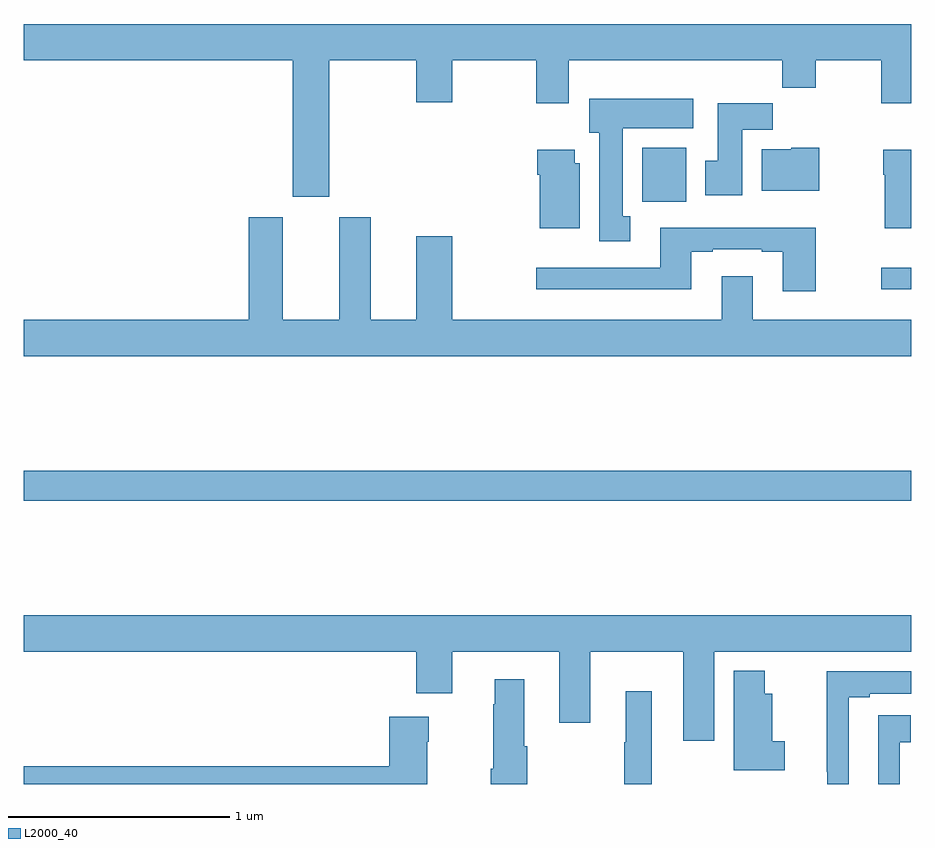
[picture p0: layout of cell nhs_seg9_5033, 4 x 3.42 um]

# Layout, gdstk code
import gdstk
lib = gdstk.Library(unit=1e-6, precision=1e-09)
def R(c, l, rs):  # rectangles x0, y0, x1, y1
    for r in rs: c.add(gdstk.rectangle(r[:2], r[2:], *l))
def P(c, l, *ps):  # polygons
    for p in ps: c.add(gdstk.Polygon(p, *l))
L2000_40 = (2000, 40)

nhs_seg9_5033 = lib.new_cell('nhs_seg9_5033')
R(nhs_seg9_5033, L2000_40, [(403,1187.776,407,1187.912), (406.863,1188.728,407,1188.825), (405.788,1189.124,405.985,1189.366)])
P(nhs_seg9_5033, L2000_40, [(404.377,1189.76),(404.768,1189.76),(404.768,1189.572),(404.932,1189.572),(404.932,1189.76),(405.31,1189.76),(405.31,1189.566),(405.457,1189.566),(405.457,1189.76),(406.417,1189.76),(406.417,1189.636),(406.569,1189.636),(406.569,1189.76),(406.864,1189.76),(406.864,1189.566),(407,1189.566),(407,1189.924),(403,1189.924),(403,1189.76),(404.213,1189.76),(404.213,1189.146),(404.377,1189.146)],
  [(405.733,1189.058),(405.7,1189.058),(405.7,1189.454),(406.018,1189.454),(406.018,1189.588),(405.548,1189.588),(405.548,1189.434),(405.593,1189.434),(405.593,1188.945),(405.733,1188.945)],
  [(406.237,1189.448),(406.376,1189.448),(406.376,1189.567),(406.127,1189.567),(406.127,1189.308),(406.07,1189.308),(406.07,1189.152),(406.237,1189.152)],
  [(406.584,1189.366),(406.458,1189.366),(406.458,1189.36),(406.325,1189.36),(406.325,1189.172),(406.584,1189.172)],
  [(405.505,1189.296),(405.484,1189.296),(405.484,1189.357),(405.314,1189.357),(405.314,1189.244),(405.326,1189.244),(405.326,1189.004),(405.505,1189.004)],
  [(407,1189.357),(406.873,1189.357),(406.873,1189.244),(406.88,1189.244),(406.88,1189.004),(407,1189.004)],
  [(407,1188.592),(406.285,1188.592),(406.285,1188.787),(406.145,1188.787),(406.145,1188.592),(404.932,1188.592),(404.932,1188.967),(404.768,1188.967),(404.768,1188.592),(404.563,1188.592),(404.563,1189.054),(404.423,1189.054),(404.423,1188.592),(404.167,1188.592),(404.167,1189.054),(404.015,1189.054),(404.015,1188.592),(403,1188.592),(403,1188.428),(407,1188.428)],
  [(406.569,1189.006),(405.869,1189.006),(405.869,1188.825),(405.309,1188.825),(405.309,1188.728),(406.009,1188.728),(406.009,1188.897),(406.105,1188.897),(406.105,1188.909),(406.325,1188.909),(406.325,1188.897),(406.421,1188.897),(406.421,1188.72),(406.569,1188.72)],
  [(406.111,1187.096),(407,1187.096),(407,1187.26),(403,1187.26),(403,1187.096),(404.768,1187.096),(404.768,1186.908),(404.932,1186.908),(404.932,1187.096),(405.413,1187.096),(405.413,1186.776),(405.553,1186.776),(405.553,1187.096),(405.971,1187.096),(405.971,1186.695),(406.111,1186.695)],
  [(406.429,1186.692),(406.372,1186.692),(406.372,1186.906),(406.339,1186.906),(406.339,1187.011),(406.199,1187.011),(406.199,1186.562),(406.429,1186.562)],
  [(406.717,1186.89),(406.813,1186.89),(406.813,1186.907),(407,1186.907),(407,1187.008),(406.618,1187.008),(406.618,1186.555),(406.62,1186.555),(406.62,1186.5),(406.717,1186.5)],
  [(405.27,1186.669),(405.256,1186.669),(405.256,1186.972),(405.122,1186.972),(405.122,1186.859),(405.115,1186.859),(405.115,1186.569),(405.104,1186.569),(405.104,1186.5),(405.27,1186.5)],
  [(405.829,1186.918),(405.713,1186.918),(405.713,1186.688),(405.706,1186.688),(405.706,1186.5),(405.829,1186.5)],
  [(406.948,1186.689),(406.997,1186.689),(406.997,1186.81),(406.85,1186.81),(406.85,1186.5),(406.948,1186.5)],
  [(404.818,1186.691),(404.826,1186.691),(404.826,1186.804),(404.648,1186.804),(404.648,1186.58),(403,1186.58),(403,1186.5),(404.818,1186.5)])

lib.write_gds('nhs_seg9_5033.gds')
